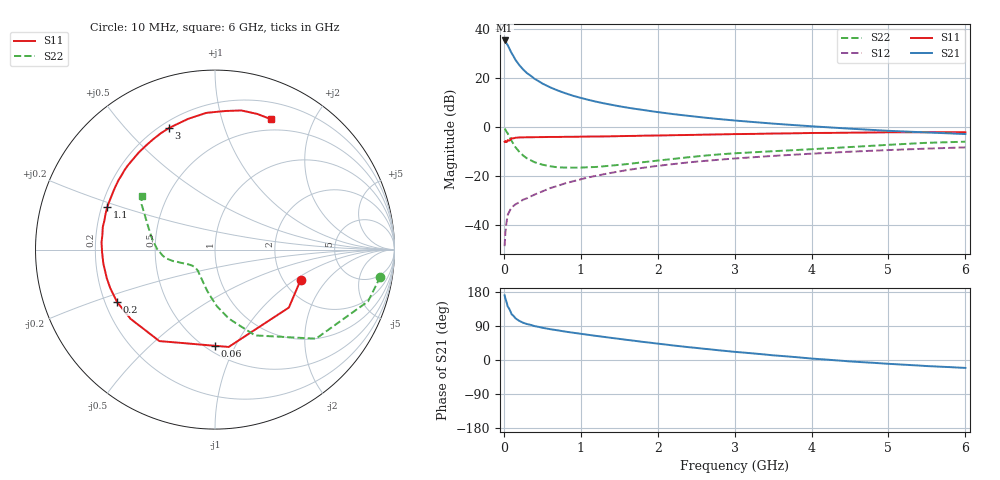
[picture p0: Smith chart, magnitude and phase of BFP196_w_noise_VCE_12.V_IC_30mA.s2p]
! Infineon Technologies  Discrete & RF Semiconductors
! BFP196
! VCE =  12. V,  IC =  30 mA
! Common Emitter S-Parameters:  Jan 2017
# GHz  S  MA  R  50
!  f  S11  S21  S12  S22
! GHz  MAG  ANG  MAG  ANG  MAG  ANG  MAG  ANG
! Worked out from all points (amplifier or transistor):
!   77 points, 10 MHz to 6 GHz, reference 50 ohm
!   highest |S21| = 35.5 dB at 10 MHz (marker M1)
!   |S21| within 3 dB of that: start of sweep to 67.25 MHz
!   unconditionally stable (mu >= 1): 683.3 MHz to 2.406 GHz
!   at 130 MHz: K = 0.46, MSG = 30.4 dB, |S12| = -32.1 dB
!   at 2.2 GHz: K = 1.01, MAG = 9.5 dB, |S12| = -15.1 dB
!   at 6 GHz: K = 0.92, MSG = 2.7 dB, |S12| = -8.2 dB
!   lowest NFmin = 1.22 dB at 450 MHz
!   S11 on the Smith chart (normalised r, x): 10 MHz: 2.46, -1.12; 60 MHz: 0.55, -0.83; 200 MHz: 0.25, -0.24; 1.1 GHz: 0.22, +0.18; 3 GHz: 0.23, +0.67; 6 GHz: 0.37, +1.45
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0.01  0.5061 -19.5  59.54 170.6  0.0037 69.2  0.9337 -9.3
0.02  0.5232 -38.1  57.97 162.4  0.007 69.0  0.9002 -18.7
0.05  0.5477 -82.0  47.78 141.4  0.0159 56.1  0.7502 -41.4
0.06  0.5359 -90.1  44.47 138.4  0.0173 54.6  0.6981 -44.9
0.1  0.5966 -121.3  33.01 121.0  0.0228 50.6  0.5275 -65.0
0.15  0.6085 -140.7  24.07 110.2  0.0264 46.7  0.3925 -78.6
0.2  0.6189 -151.9  18.74 103.3  0.0293 48.3  0.3156 -88.1
0.25  0.6218 -159.8  15.25 98.4  0.033 49.1  0.265 -94.9
0.3  0.6237 -165.1  12.83 95.0  0.0353 51.6  0.2314 -101.2
0.4  0.627 -173.0  9.768 89.4  0.042 55.3  0.1926 -110.3
0.5  0.6294 -178.9  7.849 85.1  0.0487 57.5  0.1719 -117.6
0.6  0.6334 176.3  6.579 81.4  0.0568 59.0  0.1597 -123.9
0.7  0.6328 172.5  5.647 78.3  0.0633 61.0  0.1516 -128.5
0.9  0.6372 165.2  4.403 72.0  0.0786 61.0  0.1493 -136.3
1.1  0.6453 158.6  3.63 66.4  0.0944 60.8  0.152 -142.0
1.5  0.6577 146.9  2.687 55.8  0.1249 57.9  0.1704 -151.3
2.1  0.6823 130.7  1.949 40.9  0.1692 51.9  0.2166 -161.3
3  0.7244 110.7  1.374 21.5  0.2295 41.2  0.2932 -173.4
3.1  0.7267 108.8  1.334 19.9  0.2353 40.0  0.2989 -175.0
4.1  0.7644 92.0  1.023 2.4  0.2935 28.7  0.3628 168.2
5.1  0.7887 78.0  0.832 -11.2  0.3462 17.2  0.4456 152.5
6  0.7904 66.8  0.726 -20.9  0.3879 7.1  0.5065 143.9
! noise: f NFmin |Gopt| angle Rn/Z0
0.45  1.22  0.34  169  0.05
0.9  1.38  0.45  -172  0.06
1.9  2.24  0.68  -135  0.25
2.4  2.64  0.71  -121  0.6
